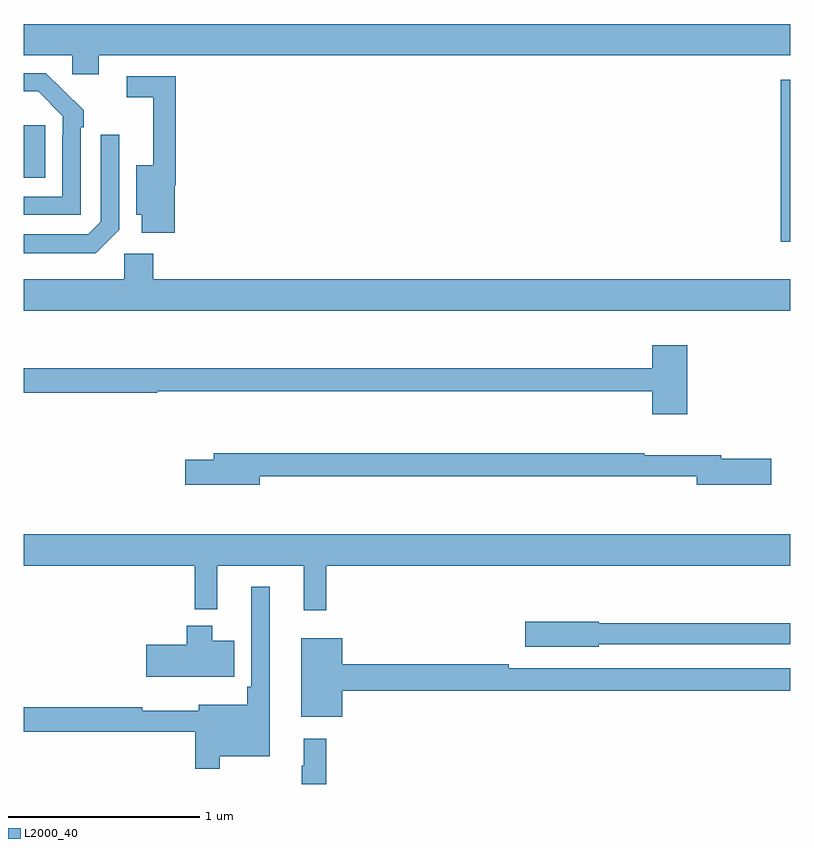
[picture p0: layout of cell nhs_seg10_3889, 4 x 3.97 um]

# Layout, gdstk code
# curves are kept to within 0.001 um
import gdstk
lib = gdstk.Library(unit=1e-6, precision=1e-09)
def R(c, l, rs):  # rectangles x0, y0, x1, y1
    for r in rs: c.add(gdstk.rectangle(r[:2], r[2:], *l))
def P(c, l, *ps):  # polygons
    for p in ps: c.add(gdstk.Polygon(p, *l))
L2000_40 = (2000, 40)

nhs_seg10_3889 = lib.new_cell('nhs_seg10_3889')
R(nhs_seg10_3889, L2000_40, [(328.951,1311.33,329,1312.177), (325,1311.665,325.111,1311.94)])
P(nhs_seg10_3889, L2000_40, [(325.39,1312.304),(329,1312.304),(329,1312.468),(325,1312.468),(325,1312.304),(325.251,1312.304),(325.251,1312.206),(325.39,1312.206)],
  [(325.296,1311.929),(325.311,1311.929),(325.311,1312.017),(325.114,1312.212),(325,1312.212),(325,1312.116),(325.075,1312.116),(325.203,1311.987),(325.203,1311.887),(325.2,1311.887),(325.2,1311.567),(325,1311.567),(325,1311.471),(325.296,1311.471)],
  [(325.787,1311.626),(325.793,1311.626),(325.793,1312.194),(325.536,1312.194),(325.536,1312.086),(325.676,1312.086),(325.676,1311.73),(325.586,1311.73),(325.586,1311.473),(325.616,1311.473),(325.616,1311.378),(325.787,1311.378)],
  [(325.497,1311.393),(325.497,1311.889),(325.401,1311.889),(325.401,1311.435),(325.335,1311.369),(325,1311.369),(325,1311.272),(325.376,1311.272)],
  [(329,1311.136),(325.676,1311.136),(325.676,1311.268),(325.524,1311.268),(325.524,1311.136),(325,1311.136),(325,1310.972),(329,1310.972)],
  [(328.463,1310.791),(328.28,1310.791),(328.28,1310.671),(325,1310.671),(325,1310.542),(325.696,1310.542),(325.696,1310.55),(328.28,1310.55),(328.28,1310.43),(328.463,1310.43)],
  [(326.23,1310.106),(328.514,1310.106),(328.514,1310.063),(328.903,1310.063),(328.903,1310.198),(328.642,1310.198),(328.642,1310.216),(328.238,1310.216),(328.238,1310.227),(325.991,1310.227),(325.991,1310.193),(325.842,1310.193),(325.842,1310.063),(326.23,1310.063)],
  [(326.579,1309.64),(329,1309.64),(329,1309.804),(325,1309.804),(325,1309.64),(325.891,1309.64),(325.891,1309.412),(326.009,1309.412),(326.009,1309.64),(326.462,1309.64),(326.462,1309.407),(326.579,1309.407)],
  [(326.023,1308.644),(326.284,1308.644),(326.284,1309.531),(326.187,1309.531),(326.187,1309.009),(326.167,1309.009),(326.167,1308.913),(325.913,1308.913),(325.913,1308.883),(325.617,1308.883),(325.617,1308.902),(325,1308.902),(325,1308.774),(325.894,1308.774),(325.894,1308.579),(326.023,1308.579)],
  [(328.002,1309.23),(329,1309.23),(329,1309.339),(328.002,1309.339),(328.002,1309.347),(327.618,1309.347),(327.618,1309.217),(328.002,1309.217)],
  [(326.098,1309.249),(325.984,1309.249),(325.984,1309.327),(325.85,1309.327),(325.85,1309.227),(325.638,1309.227),(325.638,1309.061),(326.098,1309.061)],
  [(326.662,1308.988),(329,1308.988),(329,1309.104),(327.53,1309.104),(327.53,1309.124),(326.662,1309.124),(326.662,1309.261),(326.447,1309.261),(326.447,1308.851),(326.662,1308.851)],
  [(326.579,1308.736),(326.462,1308.736),(326.462,1308.596),(326.451,1308.596),(326.451,1308.5),(326.579,1308.5)])

lib.write_gds('nhs_seg10_3889.gds')
